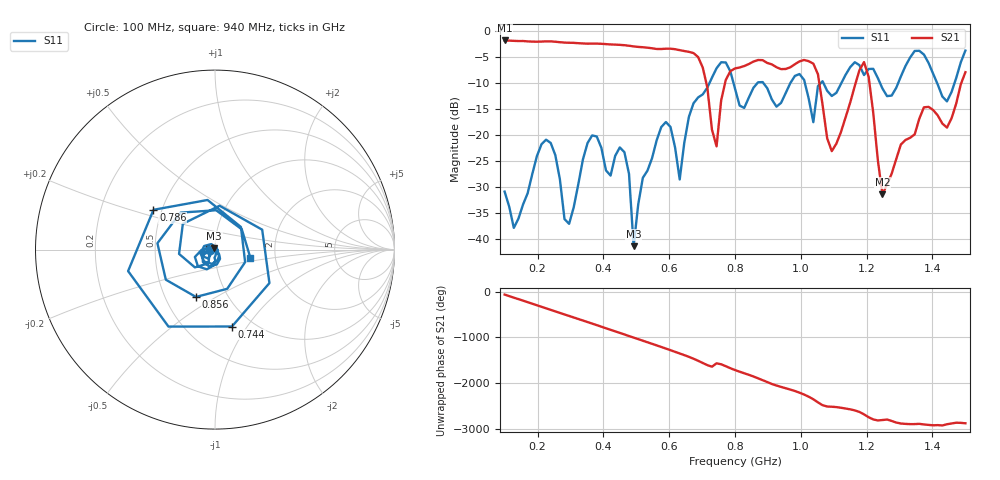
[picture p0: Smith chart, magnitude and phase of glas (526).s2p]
! NanoVNA-App
! Date: 2025-09-25 15:59:34
! Start: 100MHz Stop: 1,5GHz Points: 101
! S-Parameter data: F S11 S21 S12 S22
# Hz S RI R 50
!  Frequency  S11_Real  S11_Imag  S21_Real  S21_Imag  S12_Real  S12_Imag  S22_Real  S22_Imag
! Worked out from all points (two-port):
!   101 points, 100 MHz to 1.5 GHz, reference 50 ohm
!   highest |S21| = -1.80 dB at 100 MHz (marker M1); lowest = -31.5 dB at 1.248 GHz (marker M2)
!   |S21| within 3 dB of the highest: start of sweep to 684.3 MHz
!   lowest |S11| = -41.4 dB at 492 MHz (marker M3), VSWR 1.02, Z = 49.4 + j0.632 ohm
!   |S11| at or under -10 dB: start of sweep to 722.5 MHz; 795.4 MHz to 868.2 MHz (72.76 MHz wide, 8.75 % of centre); 886.1 MHz to 968.3 MHz (82.19 MHz wide, 8.86 % of centre) (the widest 3 of 7)
!   S12 and S22 are empty: the file has one direction only
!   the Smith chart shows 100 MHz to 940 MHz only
!   S11 on the Smith chart (normalised r, x): 100 MHz: 0.95, -0.01; 744 MHz: 0.80, -0.85; 786 MHz: 0.45, +0.24; 856 MHz: 0.71, -0.41; 940 MHz: 1.48, -0.15
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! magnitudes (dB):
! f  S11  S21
! 100 MHz  -30.9  -1.8
! 128 MHz  -37.9  -1.9
! 226 MHz  -20.9  -2.0
! 296 MHz  -37.1  -2.2
! 338 MHz  -24.7  -2.4
! 464 MHz  -23.3  -2.7
! 492 MHz  -41.4  -3.0
! 576 MHz  -18.5  -3.5
! 632 MHz  -28.6  -3.7
! 702 MHz  -12.2  -7.0
! 744 MHz  -7.2  -22.2
! 786 MHz  -7.8  -7.7
! 800 MHz  -11.1  -7.2
! 856 MHz  -10.9  -5.9
! 940 MHz  -13.8  -7.3
! 996 MHz  -8.3  -5.8
! 1.038 GHz  -17.6  -6.3
! 1.094 GHz  -12.5  -23.1
! 1.192 GHz  -8.5  -6.0
! 1.248 GHz  -11.1  -31.5
! 1.276 GHz  -12.4  -27.5
! 1.5 GHz  -3.8  -7.9
